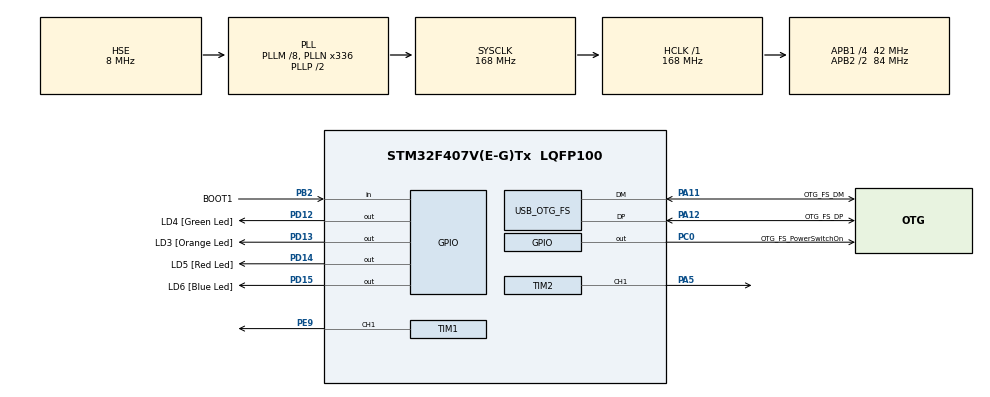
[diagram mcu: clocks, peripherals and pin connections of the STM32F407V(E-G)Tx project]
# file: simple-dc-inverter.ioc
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Mcu.Family=STM32F4
Mcu.Name=STM32F407V(E-G)Tx
Mcu.Package=LQFP100
NVIC.OTG_FS_IRQn=true\:0\:0\:false\:false\:true\:true\:true
NVIC.PriorityGroup=NVIC_PRIORITYGROUP_0
PA11.GPIO_Label=OTG_FS_DM
PA11.GPIO_Mode=GPIO_MODE_AF_PP
PA11.GPIO_PuPd=GPIO_NOPULL
PA11.GPIO_Speed=GPIO_SPEED_FREQ_LOW
PA11.Mode=Host_Only
PA11.Signal=USB_OTG_FS_DM
PA12.GPIO_Label=OTG_FS_DP
PA12.GPIO_Mode=GPIO_MODE_AF_PP
PA12.GPIO_PuPd=GPIO_NOPULL
PA12.GPIO_Speed=GPIO_SPEED_FREQ_LOW
PA12.Mode=Host_Only
PA12.Signal=USB_OTG_FS_DP
PA13.GPIO_Label=SWDIO
PA13.Mode=Serial_Wire
PA13.Signal=SYS_JTMS-SWDIO
PA14.GPIO_Label=SWCLK
PA14.Mode=Serial_Wire
PA14.Signal=SYS_JTCK-SWCLK
PA5.Signal=S_TIM2_CH1_ETR
PB2.GPIO_Label=BOOT1
PB2.GPIO_Mode=GPIO_MODE_INPUT
PB2.GPIO_PuPd=GPIO_NOPULL
PB2.Signal=GPIO_Input
PC0.GPIO_Label=OTG_FS_PowerSwitchOn
PC0.GPIO_PuPd=GPIO_NOPULL
PC0.GPIO_Speed=GPIO_SPEED_FREQ_LOW
PC0.PinState=GPIO_PIN_SET
PC0.Signal=GPIO_Output
PC14-OSC32_IN.GPIO_Label=PC14-OSC32_IN
PC14-OSC32_IN.Mode=LSE-External-Oscillator
PC14-OSC32_IN.Signal=RCC_OSC32_IN
PC15-OSC32_OUT.GPIO_Label=PC15-OSC32_OUT
PC15-OSC32_OUT.Mode=LSE-External-Oscillator
PC15-OSC32_OUT.Signal=RCC_OSC32_OUT
PD12.GPIO_Label=LD4 [Green Led]
PD12.GPIO_PuPd=GPIO_NOPULL
PD12.GPIO_Speed=GPIO_SPEED_FREQ_LOW
PD12.Signal=GPIO_Output
PD13.GPIO_Label=LD3 [Orange Led]
PD13.GPIO_PuPd=GPIO_NOPULL
PD13.GPIO_Speed=GPIO_SPEED_FREQ_LOW
PD13.Signal=GPIO_Output
PD14.GPIO_Label=LD5 [Red Led]
PD14.GPIO_PuPd=GPIO_NOPULL
PD14.GPIO_Speed=GPIO_SPEED_FREQ_LOW
PD14.Signal=GPIO_Output
PD15.GPIO_Label=LD6 [Blue Led]
PD15.GPIO_PuPd=GPIO_NOPULL
PD15.GPIO_Speed=GPIO_SPEED_FREQ_LOW
PD15.Signal=GPIO_Output
PE9.Signal=S_TIM1_CH1
PH0-OSC_IN.GPIO_Label=PH0-OSC_IN
PH0-OSC_IN.Mode=HSE-External-Oscillator
PH0-OSC_IN.Signal=RCC_OSC_IN
PH1-OSC_OUT.GPIO_Label=PH1-OSC_OUT
PH1-OSC_OUT.Mode=HSE-External-Oscillator
PH1-OSC_OUT.Signal=RCC_OSC_OUT
ProjectManager.HeapSize=0x200
ProjectManager.StackSize=0x400
ProjectManager.TargetToolchain=STM32CubeIDE
RCC.48MHZClocksFreq_Value=48000000
RCC.AHBFreq_Value=168000000
RCC.APB1CLKDivider=RCC_HCLK_DIV4
RCC.APB1Freq_Value=42000000
RCC.APB1TimFreq_Value=84000000
RCC.APB2CLKDivider=RCC_HCLK_DIV2
RCC.APB2Freq_Value=84000000
RCC.APB2TimFreq_Value=168000000
RCC.CortexFreq_Value=168000000
RCC.HCLKFreq_Value=168000000
RCC.HSE_VALUE=8000000
RCC.HSI_VALUE=16000000
RCC.PLLM=8
RCC.PLLN=336
RCC.PLLQ=7
RCC.SYSCLKFreq_VALUE=168000000
RCC.SYSCLKSource=RCC_SYSCLKSOURCE_PLLCLK
RCC.VCOOutputFreq_Value=336000000
SH.S_TIM1_CH1.0=TIM1_CH1,PWM Generation1 CH1
SH.S_TIM2_CH1_ETR.0=TIM2_CH1,PWM Generation1 CH1
TIM1.Channel-PWM\ Generation1\ CH1=TIM_CHANNEL_1
TIM2.Channel-PWM\ Generation1\ CH1=TIM_CHANNEL_1
USB_HOST.BSP.number=1
USB_HOST.USBH_HandleTypeDef-CDC_FS=hUsbHostFS
USB_HOST.VirtualModeFS=Cdc
USB_HOST0.BSP.STBoard=false
USB_HOST0.BSP.api=Unknown
USB_HOST0.BSP.i2caddr=0
USB_HOST0.BSP.i2creg=0
USB_HOST0.BSP.instance=PC0
USB_HOST0.BSP.ip=GPIO
USB_HOST0.BSP.mode=Output
USB_HOST0.BSP.name=Drive_VBUS_FS
USB_HOST0.BSP.solution=PC0
USB_OTG_FS.VirtualMode=Host_Only
USB_OTG_FS.phy_itface=HCD_PHY_EMBEDDED
VP_TIM1_VS_ClockSourceINT.Mode=Internal
VP_TIM2_VS_ClockSourceINT.Mode=Internal
VP_USB_HOST_VS_USB_HOST_CDC_FS.Mode=CDC_FS
board=STM32F407G-DISC1

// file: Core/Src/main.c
/* USER CODE BEGIN Header */
/**
  ******************************************************************************
  * @file           : main.c
  * @brief          : Main program body
  ******************************************************************************
  * @attention
  *
  * <h2><center>&copy; Copyright (c) 2021 STMicroelectronics.
  * All rights reserved.</center></h2>
  *
  * This software component is licensed by ST under Ultimate Liberty license
  * SLA0044, the "License"; You may not use this file except in compliance with
  * the License. You may obtain a copy of the License at:
  *                             www.st.com/SLA0044
  *
  ******************************************************************************
  */
/* USER CODE END Header */
#include "main.h"
#include "usb_host.h"

TIM_HandleTypeDef htim1;
TIM_HandleTypeDef htim2;

void SystemClock_Config(void);
static void MX_GPIO_Init(void);
static void MX_TIM1_Init(void);
static void MX_TIM2_Init(void);
void MX_USB_HOST_Process(void);

int main(void)
{

  /* MCU Configuration--------------------------------------------------------*/

  /* Reset of all peripherals, Initializes the Flash interface and the Systick. */
  HAL_Init();

  /* Configure the system clock */
  SystemClock_Config();

  /* USER CODE BEGIN SysInit */
  int32_t TIM1_DC = 0;
  int32_t TIM2_DC = 0;
  /* USER CODE END SysInit */

  /* Initialize all configured peripherals */
  MX_GPIO_Init();
  MX_USB_HOST_Init();
  MX_TIM1_Init();
  MX_TIM2_Init();
  /* USER CODE BEGIN 2 */
  HAL_TIM_PWM_Start(&htim1, TIM_CHANNEL_1);
  HAL_TIM_PWM_Start(&htim2, TIM_CHANNEL_1);
  /* USER CODE END 2 */

  /* Infinite loop */
  /* USER CODE BEGIN WHILE */
  while (1) {

	while(TIM1_DC < 65535) {
	  TIM1->CCR1 = TIM1_DC;
	  TIM1_DC += 1285;
	  HAL_Delay(1);
	}

	while(TIM1_DC > 0) {
	  TIM1->CCR1 = TIM1_DC;
	  TIM1_DC -= 1285;
	  HAL_Delay(1);
	}

	while(TIM2_DC < 65535) {
	  TIM2->CCR1 = TIM2_DC;
	  TIM2_DC += 1285;
	  HAL_Delay(1);
	}

	while(TIM2_DC > 0) {
	  TIM2->CCR1 = TIM2_DC;
	  TIM2_DC -= 1285;
	  HAL_Delay(1);
	}

    /* USER CODE END WHILE */
    MX_USB_HOST_Process();

  }
}

void SystemClock_Config(void)
{
  RCC_OscInitTypeDef RCC_OscInitStruct = {0};
  RCC_ClkInitTypeDef RCC_ClkInitStruct = {0};

  /** Configure the main internal regulator output voltage
  */
  __HAL_RCC_PWR_CLK_ENABLE();
  __HAL_PWR_VOLTAGESCALING_CONFIG(PWR_REGULATOR_VOLTAGE_SCALE1);
  /** Initializes the RCC Oscillators according to the specified parameters
  * in the RCC_OscInitTypeDef structure.
  */
  RCC_OscInitStruct.OscillatorType = RCC_OSCILLATORTYPE_HSE;
  RCC_OscInitStruct.HSEState = RCC_HSE_ON;
  RCC_OscInitStruct.PLL.PLLState = RCC_PLL_ON;
  RCC_OscInitStruct.PLL.PLLSource = RCC_PLLSOURCE_HSE;
  RCC_OscInitStruct.PLL.PLLM = 8;
  RCC_OscInitStruct.PLL.PLLN = 336;
  RCC_OscInitStruct.PLL.PLLP = RCC_PLLP_DIV2;
  RCC_OscInitStruct.PLL.PLLQ = 7;
  if (HAL_RCC_OscConfig(&RCC_OscInitStruct) != HAL_OK)
  {
    Error_Handler();
  }
  /** Initializes the CPU, AHB and APB buses clocks
  */
  RCC_ClkInitStruct.ClockType = RCC_CLOCKTYPE_HCLK|RCC_CLOCKTYPE_SYSCLK
                              |RCC_CLOCKTYPE_PCLK1|RCC_CLOCKTYPE_PCLK2;
  RCC_ClkInitStruct.SYSCLKSource = RCC_SYSCLKSOURCE_PLLCLK;
  RCC_ClkInitStruct.AHBCLKDivider = RCC_SYSCLK_DIV1;
  RCC_ClkInitStruct.APB1CLKDivider = RCC_HCLK_DIV4;
  RCC_ClkInitStruct.APB2CLKDivider = RCC_HCLK_DIV2;

  if (HAL_RCC_ClockConfig(&RCC_ClkInitStruct, FLASH_LATENCY_5) != HAL_OK)
  {
    Error_Handler();
  }
}

static void MX_TIM1_Init(void)
{

  TIM_ClockConfigTypeDef sClockSourceConfig = {0};
  TIM_MasterConfigTypeDef sMasterConfig = {0};
  TIM_OC_InitTypeDef sConfigOC = {0};
  TIM_BreakDeadTimeConfigTypeDef sBreakDeadTimeConfig = {0};

  htim1.Instance = TIM1;
  htim1.Init.Prescaler = 0;
  htim1.Init.CounterMode = TIM_COUNTERMODE_UP;
  htim1.Init.Period = 65535;
  htim1.Init.ClockDivision = TIM_CLOCKDIVISION_DIV1;
  htim1.Init.RepetitionCounter = 0;
  htim1.Init.AutoReloadPreload = TIM_AUTORELOAD_PRELOAD_DISABLE;
  if (HAL_TIM_Base_Init(&htim1) != HAL_OK)
  {
    Error_Handler();
  }
  sClockSourceConfig.ClockSource = TIM_CLOCKSOURCE_INTERNAL;
  if (HAL_TIM_ConfigClockSource(&htim1, &sClockSourceConfig) != HAL_OK)
  {
    Error_Handler();
  }
  if (HAL_TIM_PWM_Init(&htim1) != HAL_OK)
  {
    Error_Handler();
  }
  sMasterConfig.MasterOutputTrigger = TIM_TRGO_RESET;
  sMasterConfig.MasterSlaveMode = TIM_MASTERSLAVEMODE_DISABLE;
  if (HAL_TIMEx_MasterConfigSynchronization(&htim1, &sMasterConfig) != HAL_OK)
  {
    Error_Handler();
  }
  sConfigOC.OCMode = TIM_OCMODE_PWM1;
  sConfigOC.Pulse = 0;
  sConfigOC.OCPolarity = TIM_OCPOLARITY_HIGH;
  sConfigOC.OCNPolarity = TIM_OCNPOLARITY_HIGH;
  sConfigOC.OCFastMode = TIM_OCFAST_DISABLE;
  sConfigOC.OCIdleState = TIM_OCIDLESTATE_RESET;
  sConfigOC.OCNIdleState = TIM_OCNIDLESTATE_RESET;
  if (HAL_TIM_PWM_ConfigChannel(&htim1, &sConfigOC, TIM_CHANNEL_1) != HAL_OK)
  {
    Error_Handler();
  }
  sBreakDeadTimeConfig.OffStateRunMode = TIM_OSSR_DISABLE;
  sBreakDeadTimeConfig.OffStateIDLEMode = TIM_OSSI_DISABLE;
  sBreakDeadTimeConfig.LockLevel = TIM_LOCKLEVEL_OFF;
  sBreakDeadTimeConfig.DeadTime = 0;
  sBreakDeadTimeConfig.BreakState = TIM_BREAK_DISABLE;
  sBreakDeadTimeConfig.BreakPolarity = TIM_BREAKPOLARITY_HIGH;
  sBreakDeadTimeConfig.AutomaticOutput = TIM_AUTOMATICOUTPUT_DISABLE;
  if (HAL_TIMEx_ConfigBreakDeadTime(&htim1, &sBreakDeadTimeConfig) != HAL_OK)
  {
    Error_Handler();
  }
  HAL_TIM_MspPostInit(&htim1);

}

static void MX_TIM2_Init(void)
{

  TIM_ClockConfigTypeDef sClockSourceConfig = {0};
  TIM_MasterConfigTypeDef sMasterConfig = {0};
  TIM_OC_InitTypeDef sConfigOC = {0};

  htim2.Instance = TIM2;
  htim2.Init.Prescaler = 0;
  htim2.Init.CounterMode = TIM_COUNTERMODE_UP;
  htim2.Init.Period = 4294967295;
  htim2.Init.ClockDivision = TIM_CLOCKDIVISION_DIV1;
  htim2.Init.AutoReloadPreload = TIM_AUTORELOAD_PRELOAD_DISABLE;
  if (HAL_TIM_Base_Init(&htim2) != HAL_OK)
  {
    Error_Handler();
  }
  sClockSourceConfig.ClockSource = TIM_CLOCKSOURCE_INTERNAL;
  if (HAL_TIM_ConfigClockSource(&htim2, &sClockSourceConfig) != HAL_OK)
  {
    Error_Handler();
  }
  if (HAL_TIM_PWM_Init(&htim2) != HAL_OK)
  {
    Error_Handler();
  }
  sMasterConfig.MasterOutputTrigger = TIM_TRGO_RESET;
  sMasterConfig.MasterSlaveMode = TIM_MASTERSLAVEMODE_DISABLE;
  if (HAL_TIMEx_MasterConfigSynchronization(&htim2, &sMasterConfig) != HAL_OK)
  {
    Error_Handler();
  }
  sConfigOC.OCMode = TIM_OCMODE_PWM1;
  sConfigOC.Pulse = 0;
  sConfigOC.OCPolarity = TIM_OCPOLARITY_HIGH;
  sConfigOC.OCFastMode = TIM_OCFAST_DISABLE;
  if (HAL_TIM_PWM_ConfigChannel(&htim2, &sConfigOC, TIM_CHANNEL_1) != HAL_OK)
  {
    Error_Handler();
  }
  HAL_TIM_MspPostInit(&htim2);

}

static void MX_GPIO_Init(void)
{
  GPIO_InitTypeDef GPIO_InitStruct = {0};

  /* GPIO Ports Clock Enable */
  __HAL_RCC_GPIOC_CLK_ENABLE();
  __HAL_RCC_GPIOH_CLK_ENABLE();
  __HAL_RCC_GPIOA_CLK_ENABLE();
  __HAL_RCC_GPIOB_CLK_ENABLE();
  __HAL_RCC_GPIOE_CLK_ENABLE();
  __HAL_RCC_GPIOD_CLK_ENABLE();

  /*Configure GPIO pin Output Level */
  HAL_GPIO_WritePin(OTG_FS_PowerSwitchOn_GPIO_Port, OTG_FS_PowerSwitchOn_Pin, GPIO_PIN_SET);

  /*Configure GPIO pin Output Level */
  HAL_GPIO_WritePin(GPIOD, LD4_Pin|LD3_Pin|LD5_Pin|LD6_Pin, GPIO_PIN_RESET);

  /*Configure GPIO pin : OTG_FS_PowerSwitchOn_Pin */
  GPIO_InitStruct.Pin = OTG_FS_PowerSwitchOn_Pin;
  GPIO_InitStruct.Mode = GPIO_MODE_OUTPUT_PP;
  GPIO_InitStruct.Pull = GPIO_NOPULL;
  GPIO_InitStruct.Speed = GPIO_SPEED_FREQ_LOW;
  HAL_GPIO_Init(OTG_FS_PowerSwitchOn_GPIO_Port, &GPIO_InitStruct);

  /*Configure GPIO pin : BOOT1_Pin */
  GPIO_InitStruct.Pin = BOOT1_Pin;
  GPIO_InitStruct.Mode = GPIO_MODE_INPUT;
  GPIO_InitStruct.Pull = GPIO_NOPULL;
  HAL_GPIO_Init(BOOT1_GPIO_Port, &GPIO_InitStruct);

  /*Configure GPIO pins : LD4_Pin LD3_Pin LD5_Pin LD6_Pin */
  GPIO_InitStruct.Pin = LD4_Pin|LD3_Pin|LD5_Pin|LD6_Pin;
  GPIO_InitStruct.Mode = GPIO_MODE_OUTPUT_PP;
  GPIO_InitStruct.Pull = GPIO_NOPULL;
  GPIO_InitStruct.Speed = GPIO_SPEED_FREQ_LOW;
  HAL_GPIO_Init(GPIOD, &GPIO_InitStruct);

}

void Error_Handler(void)
{
  __disable_irq();
  while (1)
  {
  }
}

/************************ (C) COPYRIGHT STMicroelectronics *****END OF FILE****/
